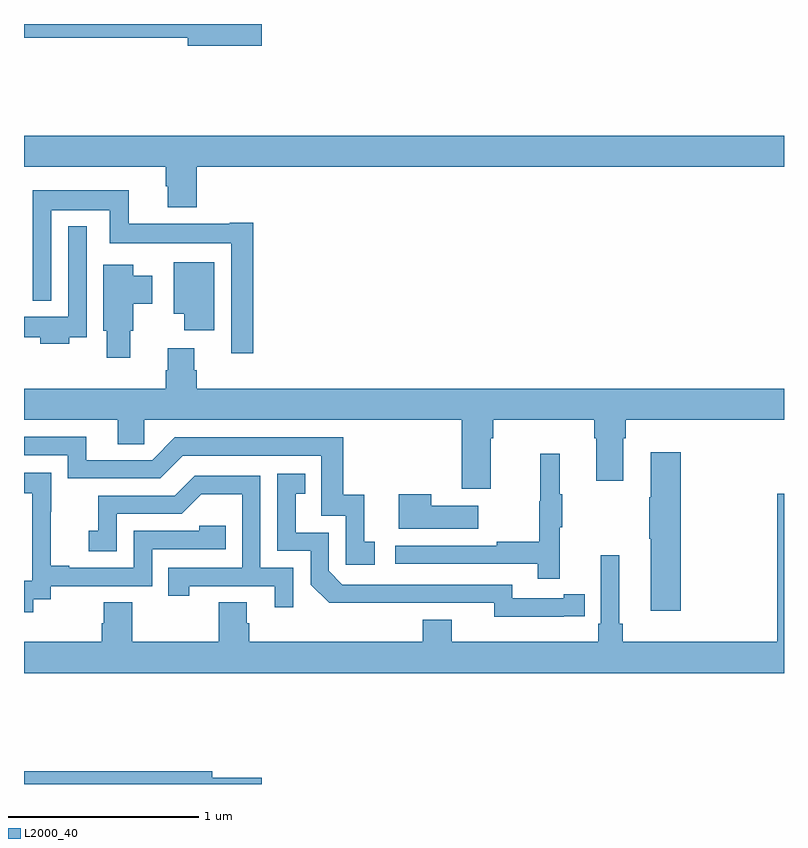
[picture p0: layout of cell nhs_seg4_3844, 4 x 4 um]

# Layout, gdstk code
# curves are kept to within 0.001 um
import gdstk
lib = gdstk.Library(unit=1e-6, precision=1e-09)
def P(c, l, *ps):  # polygons
    for p in ps: c.add(gdstk.Polygon(p, *l))
L2000_40 = (2000, 40)

nhs_seg4_3844 = lib.new_cell('nhs_seg4_3844')
P(nhs_seg4_3844, L2000_40, [(314.251,802.9),(313,802.9),(313,802.828),(313.862,802.828),(313.862,802.786),(314.251,802.786)],
  [(313.91,802.148),(317,802.148),(317,802.312),(313,802.312),(313,802.148),(313.745,802.148),(313.745,802.047),(313.757,802.047),(313.757,801.935),(313.91,801.935)],
  [(314.207,801.853),(314.084,801.853),(314.084,801.85),(313.55,801.85),(313.55,802.024),(313.046,802.024),(313.046,801.443),(313.143,801.443),(313.143,801.92),(313.452,801.92),(313.452,801.746),(314.091,801.746),(314.091,801.168),(314.207,801.168)],
  [(313.237,801.252),(313.329,801.252),(313.329,801.835),(313.233,801.835),(313.233,801.358),(313,801.358),(313,801.252),(313.085,801.252),(313.085,801.218),(313.237,801.218)],
  [(314.002,801.646),(313.787,801.646),(313.787,801.374),(313.844,801.374),(313.844,801.288),(314.002,801.288)],
  [(313.558,801.285),(313.576,801.285),(313.576,801.427),(313.675,801.427),(313.675,801.574),(313.576,801.574),(313.576,801.634),(313.418,801.634),(313.418,801.285),(313.436,801.285),(313.436,801.144),(313.558,801.144)],
  [(315.457,800.72),(315.47,800.72),(315.47,800.816),(316.001,800.816),(316.001,800.72),(316.013,800.72),(316.013,800.496),(316.153,800.496),(316.153,800.72),(316.166,800.72),(316.166,800.816),(317,800.816),(317,800.98),(313.91,800.98),(313.91,801.078),(313.897,801.078),(313.897,801.193),(313.757,801.193),(313.757,801.078),(313.745,801.078),(313.745,800.98),(313,800.98),(313,800.816),(313.493,800.816),(313.493,800.689),(313.632,800.689),(313.632,800.816),(315.305,800.816),(315.305,800.454),(315.457,800.454)],
  [(314.845,800.175),(314.792,800.175),(314.792,800.422),(314.681,800.422),(314.681,800.724),(313.794,800.724),(313.674,800.604),(313.327,800.604),(313.327,800.727),(313,800.727),(313,800.631),(313.23,800.631),(313.23,800.508),(313.716,800.508),(313.836,800.628),(314.565,800.628),(314.565,800.313),(314.694,800.313),(314.694,800.055),(314.845,800.055)],
  [(316.457,800.647),(316.298,800.647),(316.298,800.408),(316.291,800.408),(316.291,800.191),(316.298,800.191),(316.298,799.812),(316.457,799.812)],
  [(315.821,800.251),(315.832,800.251),(315.832,800.425),(315.821,800.425),(315.821,800.638),(315.718,800.638),(315.718,800.388),(315.711,800.388),(315.711,800.174),(315.487,800.174),(315.487,800.154),(314.955,800.154),(314.955,800.058),(315.703,800.058),(315.703,799.98),(315.821,799.98)],
  [(313.048,799.873),(313.14,799.873),(313.14,799.941),(313.674,799.941),(313.674,800.136),(314.063,800.136),(314.063,800.259),(313.923,800.259),(313.923,800.232),(313.578,800.232),(313.578,800.037),(313.237,800.037),(313.237,800.05),(313.142,800.05),(313.142,800.333),(313.143,800.333),(313.143,800.539),(313,800.539),(313,800.429),(313.043,800.429),(313.043,800.201),(313.044,800.201),(313.044,799.971),(313,799.971),(313,799.803),(313.048,799.803)],
  [(315.842,799.782),(315.95,799.782),(315.95,799.898),(315.842,799.898),(315.842,799.878),(315.57,799.878),(315.57,799.95),(314.676,799.95),(314.604,800.022),(314.604,800.223),(314.431,800.223),(314.431,800.427),(314.48,800.427),(314.48,800.533),(314.334,800.533),(314.334,800.127),(314.508,800.127),(314.508,799.95),(314.606,799.853),(315.474,799.854),(315.474,799.781)],
  [(314.418,800.037),(314.244,800.037),(314.244,800.523),(313.898,800.523),(313.793,800.418),(313.39,800.418),(313.39,800.233),(313.341,800.233),(313.341,800.124),(313.488,800.124),(313.488,800.322),(313.83,800.322),(313.934,800.426),(314.148,800.426),(314.148,800.037),(313.759,800.037),(313.759,799.89),(313.87,799.89),(313.87,799.941),(314.321,799.941),(314.321,799.83),(314.418,799.83)],
  [(317,800.428),(316.964,800.428),(316.964,799.648),(316.151,799.648),(316.151,799.744),(316.132,799.744),(316.132,800.104),(316.035,800.104),(316.035,799.744),(316.022,799.744),(316.022,799.648),(315.25,799.648),(315.25,799.765),(315.098,799.765),(315.098,799.648),(314.186,799.648),(314.186,799.746),(314.173,799.746),(314.173,799.856),(314.026,799.856),(314.026,799.648),(313.569,799.648),(313.569,799.856),(313.421,799.856),(313.421,799.746),(313.409,799.746),(313.409,799.648),(313,799.648),(313,799.484),(317,799.484)],
  [(315.391,800.365),(315.143,800.365),(315.143,800.425),(314.972,800.425),(314.972,800.243),(315.391,800.243)],
  [(314.251,798.932),(313.99,798.932),(313.99,798.968),(313,798.968),(313,798.9),(314.251,798.9)])

lib.write_gds('nhs_seg4_3844.gds')
